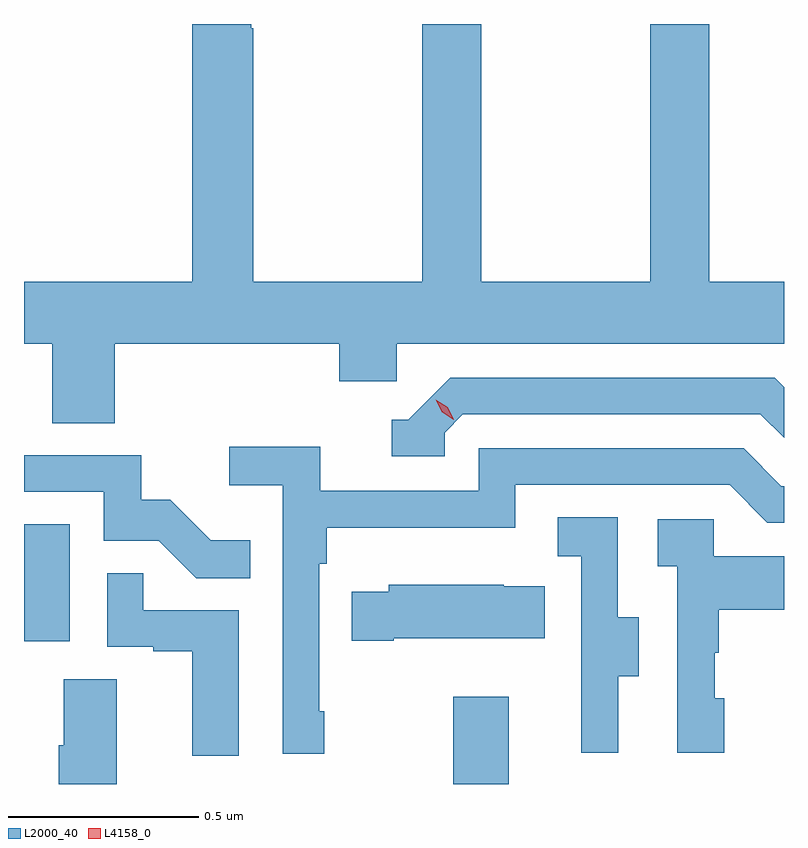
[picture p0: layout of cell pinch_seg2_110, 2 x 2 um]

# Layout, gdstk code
import gdstk
lib = gdstk.Library(unit=1e-6, precision=1e-09)
def R(c, l, rs):  # rectangles x0, y0, x1, y1
    for r in rs: c.add(gdstk.rectangle(r[:2], r[2:], *l))
def P(c, l, *ps):  # polygons
    for p in ps: c.add(gdstk.Polygon(p, *l))
L2000_40 = (2000, 40)
L4158_0 = (4158, 0)

pinch_seg2_110 = lib.new_cell('pinch_seg2_110')
R(pinch_seg2_110, L2000_40, [(1072.474,630.494,1072.621,630.724), (1071.345,630.87,1071.466,631.177)])
P(pinch_seg2_110, L2000_40, [(1071.584,631.652),(1072.175,631.652),(1072.175,631.554),(1072.326,631.554),(1072.326,631.652),(1073.345,631.652),(1073.345,631.816),(1073.148,631.816),(1073.148,632.494),(1072.993,632.494),(1072.993,631.816),(1072.548,631.816),(1072.548,632.494),(1072.393,632.494),(1072.393,631.816),(1071.948,631.816),(1071.948,632.483),(1071.943,632.483),(1071.943,632.494),(1071.788,632.494),(1071.788,631.816),(1071.345,631.816),(1071.345,631.652),(1071.419,631.652),(1071.419,631.444),(1071.584,631.444)],
  [(1072.452,631.419),(1072.5,631.467),(1073.283,631.467),(1073.345,631.405),(1073.345,631.538),(1073.32,631.563),(1072.467,631.563),(1072.356,631.452),(1072.313,631.452),(1072.313,631.356),(1072.452,631.356)],
  [(1072.135,630.685),(1072.122,630.685),(1072.122,631.073),(1072.142,631.073),(1072.142,631.169),(1072.638,631.169),(1072.638,631.281),(1073.202,631.281),(1073.301,631.182),(1073.345,631.182),(1073.345,631.278),(1073.338,631.278),(1073.239,631.377),(1072.542,631.377),(1072.542,631.266),(1072.124,631.266),(1072.124,631.382),(1071.885,631.382),(1071.885,631.28),(1072.026,631.28),(1072.026,630.573),(1072.135,630.573)],
  [(1071.941,631.135),(1071.837,631.135),(1071.73,631.242),(1071.654,631.242),(1071.654,631.359),(1071.345,631.359),(1071.345,631.263),(1071.555,631.263),(1071.555,631.134),(1071.7,631.134),(1071.798,631.036),(1071.941,631.036)],
  [(1072.909,630.778),(1072.963,630.778),(1072.963,630.933),(1072.908,630.933),(1072.908,631.196),(1072.749,631.196),(1072.749,631.093),(1072.812,631.093),(1072.812,630.789),(1072.811,630.789),(1072.811,630.576),(1072.909,630.576)],
  [(1073.188,630.72),(1073.163,630.72),(1073.163,630.839),(1073.173,630.839),(1073.173,630.953),(1073.345,630.953),(1073.345,631.093),(1073.16,631.093),(1073.16,631.191),(1073.013,631.191),(1073.013,631.067),(1073.064,631.067),(1073.064,630.576),(1073.188,630.576)],
  [(1071.91,630.951),(1071.659,630.951),(1071.659,631.049),(1071.564,631.049),(1071.564,630.855),(1071.685,630.855),(1071.685,630.843),(1071.788,630.843),(1071.788,630.569),(1071.91,630.569)],
  [(1072.318,630.878),(1072.715,630.878),(1072.715,631.015),(1072.607,631.015),(1072.607,631.018),(1072.305,631.018),(1072.305,631),(1072.207,631),(1072.207,630.871),(1072.318,630.871)],
  [(1071.589,630.77),(1071.449,630.77),(1071.449,630.596),(1071.437,630.596),(1071.437,630.494),(1071.589,630.494)])
P(pinch_seg2_110, L4158_0, [(1072.476,631.453),(1072.445,631.472),(1072.429,631.505),(1072.429,631.505),(1072.429,631.505),(1072.46,631.486),(1072.476,631.453),(1072.476,631.453)])

lib.write_gds('pinch_seg2_110.gds')
